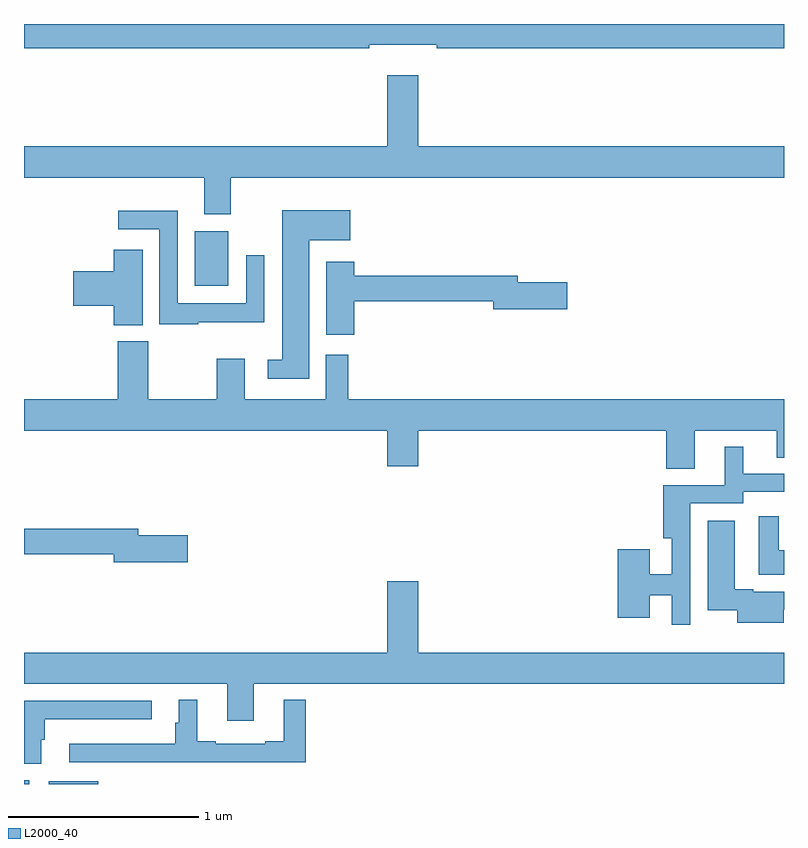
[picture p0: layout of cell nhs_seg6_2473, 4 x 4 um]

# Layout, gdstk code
import gdstk
lib = gdstk.Library(unit=1e-6, precision=1e-09)
def R(c, l, rs):  # rectangles x0, y0, x1, y1
    for r in rs: c.add(gdstk.rectangle(r[:2], r[2:], *l))
def P(c, l, *ps):  # polygons
    for p in ps: c.add(gdstk.Polygon(p, *l))
L2000_40 = (2000, 40)

nhs_seg6_2473 = lib.new_cell('nhs_seg6_2473')
R(nhs_seg6_2473, L2000_40, [(259,921.5,259.027,921.52), (259.13,921.5,259.39,921.514), (259.898,924.122,260.074,924.409)])
P(nhs_seg6_2473, L2000_40, [(260.816,925.391),(261.172,925.391),(261.172,925.372),(263,925.372),(263,925.5),(259,925.5),(259,925.372),(260.816,925.372)],
  [(260.089,924.692),(263,924.692),(263,924.856),(261.076,924.856),(261.076,925.231),(260.912,925.231),(260.912,924.856),(259,924.856),(259,924.692),(259.949,924.692),(259.949,924.498),(260.089,924.498)],
  [(260.5,924.362),(260.716,924.362),(260.716,924.52),(260.36,924.52),(260.36,923.732),(260.283,923.732),(260.283,923.634),(260.5,923.634)],
  [(259.916,923.93),(260.265,923.93),(260.265,924.283),(260.169,924.283),(260.169,924.031),(259.809,924.031),(259.809,924.517),(259.497,924.517),(259.497,924.42),(259.713,924.42),(259.713,923.92),(259.916,923.92)],
  [(259.624,924.313),(259.472,924.313),(259.472,924.2),(259.26,924.2),(259.26,924.017),(259.472,924.017),(259.472,923.914),(259.624,923.914)],
  [(260.738,924.04),(261.47,924.04),(261.47,923.998),(261.859,923.998),(261.859,924.14),(261.598,924.14),(261.598,924.176),(260.738,924.176),(260.738,924.25),(260.591,924.25),(260.591,923.865),(260.738,923.865)],
  [(262.531,923.36),(262.961,923.36),(262.961,923.218),(263,923.218),(263,923.524),(260.707,923.524),(260.707,923.758),(260.588,923.758),(260.588,923.524),(260.161,923.524),(260.161,923.737),(260.014,923.737),(260.014,923.524),(259.653,923.524),(259.653,923.829),(259.493,923.829),(259.493,923.524),(259,923.524),(259,923.36),(260.912,923.36),(260.912,923.172),(261.076,923.172),(261.076,923.36),(262.379,923.36),(262.379,923.158),(262.531,923.158)],
  [(262.506,922.977),(262.785,922.977),(262.785,923.037),(263,923.037),(263,923.133),(262.786,923.133),(262.786,923.275),(262.688,923.275),(262.688,923.073),(262.364,923.073),(262.364,922.793),(262.41,922.793),(262.41,922.604),(262.294,922.604),(262.294,922.735),(262.124,922.735),(262.124,922.374),(262.294,922.374),(262.294,922.494),(262.41,922.494),(262.41,922.338),(262.506,922.338)],
  [(263,922.729),(262.972,922.729),(262.972,922.909),(262.868,922.909),(262.868,922.601),(263,922.601)],
  [(262.999,922.416),(263,922.416),(263,922.512),(262.837,922.512),(262.837,922.525),(262.741,922.525),(262.741,922.885),(262.598,922.885),(262.598,922.414),(262.754,922.414),(262.754,922.349),(262.999,922.349)],
  [(259.861,922.808),(259.6,922.808),(259.6,922.844),(259,922.844),(259,922.708),(259.472,922.708),(259.472,922.666),(259.861,922.666)],
  [(260.209,922.028),(263,922.028),(263,922.192),(261.076,922.192),(261.076,922.567),(260.912,922.567),(260.912,922.192),(259,922.192),(259,922.028),(260.069,922.028),(260.069,921.834),(260.209,921.834)],
  [(260.483,921.943),(260.366,921.943),(260.366,921.724),(260.27,921.724),(260.27,921.711),(260.008,921.711),(260.008,921.724),(259.912,921.724),(259.912,921.943),(259.814,921.943),(259.814,921.822),(259.795,921.822),(259.795,921.712),(259.239,921.712),(259.239,921.615),(259.938,921.615),(259.938,921.614),(260.483,921.614)],
  [(259.09,921.732),(259.109,921.732),(259.109,921.842),(259.672,921.842),(259.672,921.939),(259,921.939),(259,921.606),(259.09,921.606)])

lib.write_gds('nhs_seg6_2473.gds')
